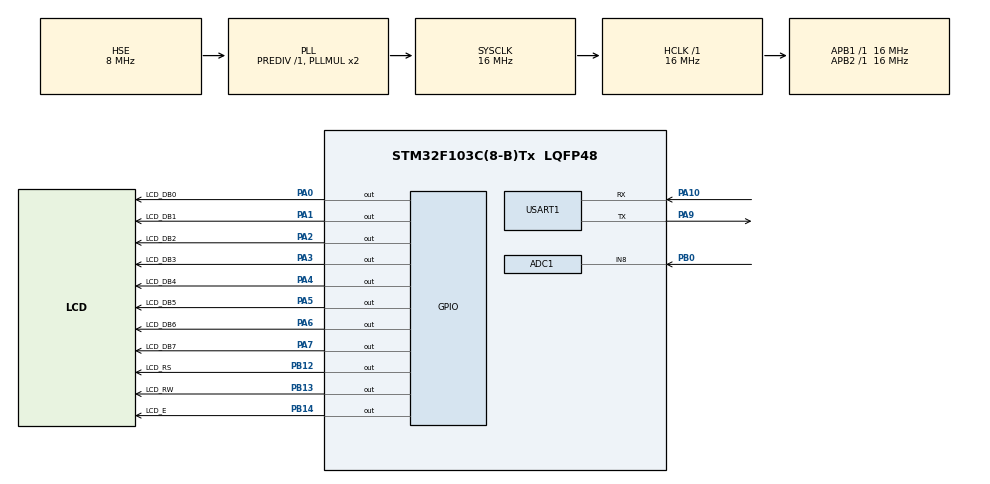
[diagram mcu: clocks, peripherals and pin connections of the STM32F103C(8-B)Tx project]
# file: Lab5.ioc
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ADC1.Channel-1\#ChannelRegularConversion=ADC_CHANNEL_8
ADC1.ContinuousConvMode=ENABLE
ADC1.NbrOfConversionFlag=1
ADC1.Rank-1\#ChannelRegularConversion=1
ADC1.SamplingTime-1\#ChannelRegularConversion=ADC_SAMPLETIME_55CYCLES_5
ADC1.master=1
Mcu.Family=STM32F1
Mcu.Name=STM32F103C(8-B)Tx
Mcu.Package=LQFP48
NVIC.PriorityGroup=NVIC_PRIORITYGROUP_4
NVIC.TIM2_IRQn=true\:0\:0\:false\:false\:true\:true\:true\:true
PA0-WKUP.GPIO_Label=LCD_DB0
PA0-WKUP.GPIO_Speed=GPIO_SPEED_FREQ_MEDIUM
PA0-WKUP.Signal=GPIO_Output
PA1.GPIO_Label=LCD_DB1
PA1.GPIO_Speed=GPIO_SPEED_FREQ_MEDIUM
PA1.Signal=GPIO_Output
PA10.Mode=Asynchronous
PA10.Signal=USART1_RX
PA13.Mode=Serial_Wire
PA13.Signal=SYS_JTMS-SWDIO
PA14.Mode=Serial_Wire
PA14.Signal=SYS_JTCK-SWCLK
PA2.GPIO_Label=LCD_DB2
PA2.GPIO_Speed=GPIO_SPEED_FREQ_MEDIUM
PA2.Signal=GPIO_Output
PA3.GPIO_Label=LCD_DB3
PA3.GPIO_Speed=GPIO_SPEED_FREQ_MEDIUM
PA3.Signal=GPIO_Output
PA4.GPIO_Label=LCD_DB4
PA4.GPIO_Speed=GPIO_SPEED_FREQ_MEDIUM
PA4.Signal=GPIO_Output
PA5.GPIO_Label=LCD_DB5
PA5.GPIO_Speed=GPIO_SPEED_FREQ_MEDIUM
PA5.Signal=GPIO_Output
PA6.GPIO_Label=LCD_DB6
PA6.GPIO_Speed=GPIO_SPEED_FREQ_MEDIUM
PA6.Signal=GPIO_Output
PA7.GPIO_Label=LCD_DB7
PA7.GPIO_Speed=GPIO_SPEED_FREQ_MEDIUM
PA7.Signal=GPIO_Output
PA9.Mode=Asynchronous
PA9.Signal=USART1_TX
PB0.Signal=ADCx_IN8
PB12.GPIO_Label=LCD_RS
PB12.GPIO_Speed=GPIO_SPEED_FREQ_MEDIUM
PB12.Signal=GPIO_Output
PB13.GPIO_Label=LCD_RW
PB13.GPIO_Speed=GPIO_SPEED_FREQ_MEDIUM
PB13.Signal=GPIO_Output
PB14.GPIO_Label=LCD_E
PB14.GPIO_Speed=GPIO_SPEED_FREQ_MEDIUM
PB14.Signal=GPIO_Output
PD0-OSC_IN.Mode=HSE-External-Oscillator
PD0-OSC_IN.Signal=RCC_OSC_IN
PD1-OSC_OUT.Mode=HSE-External-Oscillator
PD1-OSC_OUT.Signal=RCC_OSC_OUT
ProjectManager.HeapSize=0x200
ProjectManager.StackSize=0x400
ProjectManager.TargetToolchain=MDK-ARM V5.32
RCC.AHBFreq_Value=16000000
RCC.APB1Freq_Value=16000000
RCC.APB1TimFreq_Value=16000000
RCC.APB2Freq_Value=16000000
RCC.APB2TimFreq_Value=16000000
RCC.HCLKFreq_Value=16000000
RCC.PLLSourceVirtual=RCC_PLLSOURCE_HSE
RCC.SYSCLKFreq_VALUE=16000000
RCC.SYSCLKSource=RCC_SYSCLKSOURCE_PLLCLK
RCC.USBFreq_Value=16000000
SH.ADCx_IN8.0=ADC1_IN8,IN8
TIM2.Period=1
TIM2.Prescaler=15999
USART1.VirtualMode=VM_ASYNC
VP_TIM2_VS_ClockSourceINT.Mode=Internal
board=custom

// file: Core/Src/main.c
/* USER CODE BEGIN Header */
/**
  ******************************************************************************
  * @file           : main.c
  * @brief          : Main program body
  ******************************************************************************
  * @attention
  *
  * Copyright (c) 2025 STMicroelectronics.
  * All rights reserved.
  *
  * This software is licensed under terms that can be found in the LICENSE file
  * in the root directory of this software component.
  * If no LICENSE file comes with this software, it is provided AS-IS.
  *
  ******************************************************************************
  */
/* USER CODE END Header */
#include "main.h"
#include "adc.h"
#include "tim.h"
#include "usart.h"
#include "gpio.h"

/* USER CODE BEGIN Includes */
#include "LCD.h"
#include <stdio.h>
#include <string.h>
/* USER CODE END Includes */

void SystemClock_Config(void);

/* USER CODE BEGIN 0 */

/*
void HAL_TIM_PeriodElapsedCallback(TIM_HandleTypeDef *htim)
{
    if (htim->Instance == TIM2)
    {
        HAL_ADC_Start(&hadc1);
        if (HAL_ADC_PollForConversion(&hadc1, 10) == HAL_OK)
        {
            uint16_t adc_val = HAL_ADC_GetValue(&hadc1);
            //float voltage = ((float)adc_val * 3.3f) / 4095.0f;
						uint16_t voltage_mv = (adc_val * 3300) / 4095;
						uint16_t int_part = voltage_mv / 100;
            uint16_t frac_part = voltage_mv % 100;

            char message[20];
						sprintf(message, "V=%d.%02d V", int_part, frac_part);
            //sprintf(message, "V=%.2f V", voltage);

            LCD_Display_String(0, 0, (uint8_t*)message);
        }
    }
}
*/

/* USER CODE END 0 */

int main(void)
{

  /* MCU Configuration--------------------------------------------------------*/

  /* Reset of all peripherals, Initializes the Flash interface and the Systick. */
  HAL_Init();

  /* Configure the system clock */
  SystemClock_Config();

  /* Initialize all configured peripherals */
  MX_GPIO_Init();
  MX_USART1_UART_Init();
  MX_ADC1_Init();
  MX_TIM2_Init();
  /* USER CODE BEGIN 2 */

	LCD_init();
	LCD_Clear();

	//HAL_TIM_Base_Start_IT(&htim2);

	HAL_ADCEx_Calibration_Start(&hadc1);
	HAL_ADC_Start(&hadc1);

  /* USER CODE END 2 */

  /* Infinite loop */
  /* USER CODE BEGIN WHILE */
  while (1)
  {
		if (HAL_ADC_PollForConversion(&hadc1, 10) == HAL_OK)
        {
            uint16_t adc_val = HAL_ADC_GetValue(&hadc1);
            //float voltage = ((float)adc_val * 3.3f) / 4095.0f;
						uint16_t voltage_mv = (adc_val * 330) / 4095;
						uint16_t int_part = voltage_mv / 100;
            uint16_t frac_part = voltage_mv % 100;

            char message[20];
						sprintf(message, "V=%d.%02d V", int_part, frac_part);
            //sprintf(message, "V=%.2f V", voltage);

            LCD_Display_String(0, 0, (uint8_t*)message);
        }
    /* USER CODE END WHILE */

  }
}

void SystemClock_Config(void)
{
  RCC_OscInitTypeDef RCC_OscInitStruct = {0};
  RCC_ClkInitTypeDef RCC_ClkInitStruct = {0};
  RCC_PeriphCLKInitTypeDef PeriphClkInit = {0};

  /** Initializes the RCC Oscillators according to the specified parameters
  * in the RCC_OscInitTypeDef structure.
  */
  RCC_OscInitStruct.OscillatorType = RCC_OSCILLATORTYPE_HSE;
  RCC_OscInitStruct.HSEState = RCC_HSE_ON;
  RCC_OscInitStruct.HSEPredivValue = RCC_HSE_PREDIV_DIV1;
  RCC_OscInitStruct.HSIState = RCC_HSI_ON;
  RCC_OscInitStruct.PLL.PLLState = RCC_PLL_ON;
  RCC_OscInitStruct.PLL.PLLSource = RCC_PLLSOURCE_HSE;
  RCC_OscInitStruct.PLL.PLLMUL = RCC_PLL_MUL2;
  if (HAL_RCC_OscConfig(&RCC_OscInitStruct) != HAL_OK)
  {
    Error_Handler();
  }

  /** Initializes the CPU, AHB and APB buses clocks
  */
  RCC_ClkInitStruct.ClockType = RCC_CLOCKTYPE_HCLK|RCC_CLOCKTYPE_SYSCLK
                              |RCC_CLOCKTYPE_PCLK1|RCC_CLOCKTYPE_PCLK2;
  RCC_ClkInitStruct.SYSCLKSource = RCC_SYSCLKSOURCE_PLLCLK;
  RCC_ClkInitStruct.AHBCLKDivider = RCC_SYSCLK_DIV1;
  RCC_ClkInitStruct.APB1CLKDivider = RCC_HCLK_DIV1;
  RCC_ClkInitStruct.APB2CLKDivider = RCC_HCLK_DIV1;

  if (HAL_RCC_ClockConfig(&RCC_ClkInitStruct, FLASH_LATENCY_0) != HAL_OK)
  {
    Error_Handler();
  }
  PeriphClkInit.PeriphClockSelection = RCC_PERIPHCLK_ADC;
  PeriphClkInit.AdcClockSelection = RCC_ADCPCLK2_DIV2;
  if (HAL_RCCEx_PeriphCLKConfig(&PeriphClkInit) != HAL_OK)
  {
    Error_Handler();
  }
}

void Error_Handler(void)
{
  __disable_irq();
  while (1)
  {
  }
}
